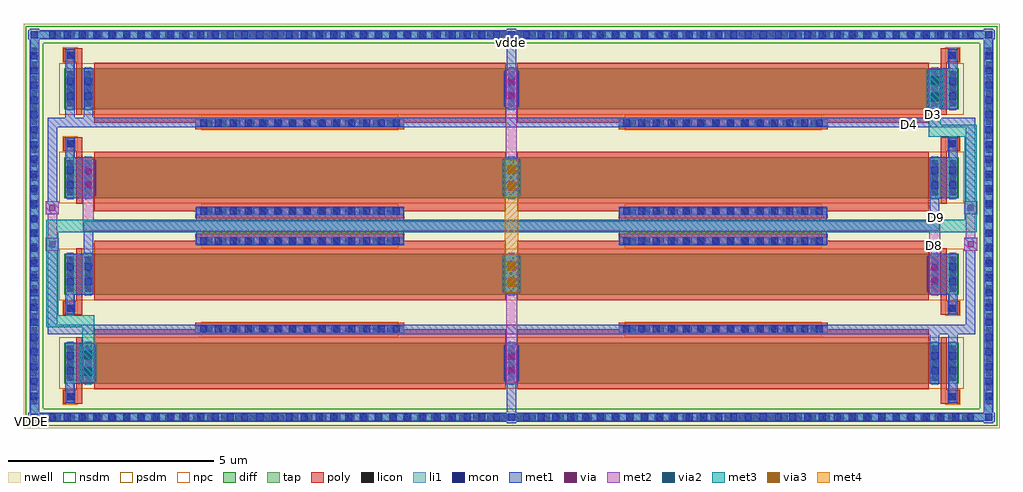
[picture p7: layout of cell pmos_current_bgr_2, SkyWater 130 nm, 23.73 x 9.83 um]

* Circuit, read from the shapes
.subckt pmos_current_bgr_2 D3 D4 D8 D9 VDDE
XM1 D3 D3 D3 VDDE sky130_fd_pr__pfet_01v8 w=1 l=0.15 m=2
XM2 D9 D9 D9 VDDE sky130_fd_pr__pfet_01v8 w=1 l=0.15 m=2
XM3 D8 D8 D8 VDDE sky130_fd_pr__pfet_01v8 w=1 l=0.15 m=2
XM4 D4 D4 D4 VDDE sky130_fd_pr__pfet_01v8 w=1 l=0.15 m=2
XM5 VDDE D4 D3 VDDE sky130_fd_pr__pfet_01v8 w=1 l=10 m=2
XM6 VDDE D9 D9 VDDE sky130_fd_pr__pfet_01v8 w=1 l=10 m=2
XM7 VDDE D9 D8 VDDE sky130_fd_pr__pfet_01v8 w=1 l=10 m=2
XM8 VDDE D4 D4 VDDE sky130_fd_pr__pfet_01v8 w=1 l=10 m=2
.ends

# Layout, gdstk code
import gdstk
lib = gdstk.Library(unit=1e-6, precision=1e-09)
def R(c, l, rs):  # rectangles x0, y0, x1, y1
    for r in rs: c.add(gdstk.rectangle(r[:2], r[2:], *l))
def A(c, l, x, y, w, h, nx, ny, dx, dy):  # array of equal rectangles
    R(c, l, [(x+i*dx, y+j*dy, x+i*dx+w, y+j*dy+h) for i in range(nx) for j in range(ny)])
nwell = (64, 20)
diff = (65, 20)
tap = (65, 44)
poly = (66, 20)
licon = (66, 44)
li1 = (67, 20)
mcon = (67, 44)
met1 = (68, 20)
via = (68, 44)
met2 = (69, 20)
via2 = (69, 44)
met3 = (70, 20)
via3 = (70, 44)
met4 = (71, 20)
nsdm = (93, 44)
psdm = (94, 20)
npc = (95, 20)

sky130_fd_pr__pfet_01v8_ = lib.new_cell('sky130_fd_pr__pfet_01v8_2XUZHN')
R(sky130_fd_pr__pfet_01v8_, nwell, [(-0.545,-0.81,0.545,0.81)])
R(sky130_fd_pr__pfet_01v8_, diff, [(-0.365,-0.5,0.365,0.5)])
R(sky130_fd_pr__pfet_01v8_, poly, [(-0.075,-0.63,0.075,0.63)])
A(sky130_fd_pr__pfet_01v8_, licon, -0.305, -0.425, 0.17, 0.17, 1, 3, 0, 0.34)
A(sky130_fd_pr__pfet_01v8_, licon, 0.135, -0.425, 0.17, 0.17, 1, 3, 0, 0.34)
R(sky130_fd_pr__pfet_01v8_, li1, [(-0.305,-0.52,-0.135,0.52), (0.135,-0.52,0.305,0.52)])
R(sky130_fd_pr__pfet_01v8_, mcon, [(-0.305,-0.265,-0.135,-0.095), (0.135,-0.265,0.305,-0.095), (-0.305,0.095,-0.135,0.265), (0.135,0.095,0.305,0.265)])
R(sky130_fd_pr__pfet_01v8_, met1, [(-0.335,-0.5,-0.105,0.5), (0.105,-0.5,0.335,0.5)])
R(sky130_fd_pr__pfet_01v8_, psdm, [(-0.49,-0.625,0.49,0.625)])

c_sky130_fd_pr__pfet_01v8_ = lib.new_cell('sky130_fd_pr__pfet_01v8_8RMJP2')
R(c_sky130_fd_pr__pfet_01v8_, nwell, [(-10.615,-0.99,10.615,0.82)])
R(c_sky130_fd_pr__pfet_01v8_, diff, [(-10.435,-0.68,10.435,0.32)])
R(c_sky130_fd_pr__pfet_01v8_, poly, [(-10.145,-0.81,-0.145,0.64), (0.145,-0.81,10.145,0.64), (-7.685,0.64,-2.605,0.805), (2.605,0.64,7.685,0.805)])
A(c_sky130_fd_pr__pfet_01v8_, licon, -10.375, -0.605, 0.17, 0.17, 3, 3, 10.29, 0.34)
A(c_sky130_fd_pr__pfet_01v8_, licon, -7.44, 0.555, 0.17, 0.17, 14, 1, 0.34, 0)
A(c_sky130_fd_pr__pfet_01v8_, licon, 2.85, 0.555, 0.17, 0.17, 14, 1, 0.34, 0)
A(c_sky130_fd_pr__pfet_01v8_, li1, -10.375, -0.7, 0.17, 1.04, 3, 1, 10.29, 0)
R(c_sky130_fd_pr__pfet_01v8_, li1, [(-7.685,0.555,-2.605,0.725), (2.605,0.555,7.685,0.725)])
A(c_sky130_fd_pr__pfet_01v8_, mcon, -10.375, -0.445, 0.17, 0.17, 3, 2, 10.29, 0.36)
A(c_sky130_fd_pr__pfet_01v8_, mcon, -7.57, 0.555, 0.17, 0.17, 14, 1, 0.36, 0)
A(c_sky130_fd_pr__pfet_01v8_, mcon, 2.72, 0.555, 0.17, 0.17, 14, 1, 0.36, 0)
A(c_sky130_fd_pr__pfet_01v8_, met1, -10.405, -0.68, 0.23, 1, 3, 1, 10.29, 0)
R(c_sky130_fd_pr__pfet_01v8_, met1, [(-7.665,0.525,-2.625,0.755), (2.625,0.525,7.665,0.755)])
R(c_sky130_fd_pr__pfet_01v8_, psdm, [(-10.56,-0.805,10.56,0.445)])
R(c_sky130_fd_pr__pfet_01v8_, npc, [(-7.54,0.455,-2.75,0.825), (2.75,0.455,7.54,0.825)])

c_sky130_fd_pr__pfet_01v8__ = lib.new_cell('sky130_fd_pr__pfet_01v8_CVRJBD')
R(c_sky130_fd_pr__pfet_01v8__, nwell, [(-10.615,-0.82,10.615,0.99)])
R(c_sky130_fd_pr__pfet_01v8__, diff, [(-10.435,-0.32,10.435,0.68)])
R(c_sky130_fd_pr__pfet_01v8__, poly, [(-7.685,-0.805,-2.605,-0.64), (2.605,-0.805,7.685,-0.64), (-10.145,-0.64,-0.145,0.81), (0.145,-0.64,10.145,0.81)])
A(c_sky130_fd_pr__pfet_01v8__, licon, -7.44, -0.725, 0.17, 0.17, 14, 1, 0.34, 0)
A(c_sky130_fd_pr__pfet_01v8__, licon, 2.85, -0.725, 0.17, 0.17, 14, 1, 0.34, 0)
A(c_sky130_fd_pr__pfet_01v8__, licon, -10.375, -0.245, 0.17, 0.17, 3, 3, 10.29, 0.34)
A(c_sky130_fd_pr__pfet_01v8__, li1, -10.375, -0.34, 0.17, 1.04, 3, 1, 10.29, 0)
R(c_sky130_fd_pr__pfet_01v8__, li1, [(-7.685,-0.725,-2.605,-0.555), (2.605,-0.725,7.685,-0.555)])
A(c_sky130_fd_pr__pfet_01v8__, mcon, -7.57, -0.725, 0.17, 0.17, 14, 1, 0.36, 0)
A(c_sky130_fd_pr__pfet_01v8__, mcon, 2.72, -0.725, 0.17, 0.17, 14, 1, 0.36, 0)
A(c_sky130_fd_pr__pfet_01v8__, mcon, -10.375, -0.085, 0.17, 0.17, 3, 2, 10.29, 0.36)
A(c_sky130_fd_pr__pfet_01v8__, met1, -10.405, -0.32, 0.23, 1, 3, 1, 10.29, 0)
R(c_sky130_fd_pr__pfet_01v8__, met1, [(-7.665,-0.755,-2.625,-0.525), (2.625,-0.755,7.665,-0.525)])
R(c_sky130_fd_pr__pfet_01v8__, psdm, [(-10.56,-0.445,10.56,0.805)])
R(c_sky130_fd_pr__pfet_01v8__, npc, [(-7.54,-0.825,-2.75,-0.455), (2.75,-0.825,7.54,-0.455)])

pmos_current_bgr_2 = lib.new_cell('pmos_current_bgr_2')
R(pmos_current_bgr_2, nwell, [(-1.25,-7.25,22.48,2.58)])
R(pmos_current_bgr_2, tap, [(-1.07,-7.07,22.3,-6.9), (-1.07,-6.9,-0.9,2.23), (22.13,-6.9,22.3,2.23), (-1.07,2.23,22.3,2.4)])
R(pmos_current_bgr_2, poly, [(-0.28,-6.655,0.18,-6.325), (21.05,-6.655,21.51,-6.325), (0.03,-6.325,0.18,-6.17), (21.05,-6.325,21.2,-6.17), (-0.28,-4.495,0.05,-4.49), (21.05,-4.495,21.51,-4.165), (-0.28,-4.49,0.18,-4.165), (0.03,-4.165,0.18,-4.105), (21.05,-4.165,21.2,-4.01), (21.05,-0.66,21.2,-0.505), (0.03,-0.53,0.18,-0.505), (-0.28,-0.505,0.18,-0.175), (21.05,-0.505,21.51,-0.175), (0.03,1.5,0.18,1.655), (21.05,1.63,21.2,1.655), (-0.28,1.655,0.18,1.985), (21.05,1.655,21.51,1.985)])
A(pmos_current_bgr_2, licon, -0.52, -7.07, 0.17, 0.17, 66, 2, 0.34, 9.3)
A(pmos_current_bgr_2, licon, -1.07, -6.67, 0.17, 0.17, 1, 26, 0, 0.34)
A(pmos_current_bgr_2, licon, 22.13, -6.67, 0.17, 0.17, 1, 26, 0, 0.34)
R(pmos_current_bgr_2, licon, [(-0.2,-6.575,-0.03,-6.405), (21.26,-6.575,21.43,-6.405), (-0.2,-4.415,-0.03,-4.245), (21.26,-4.415,21.43,-4.245), (-0.2,-0.425,-0.03,-0.255), (21.26,-0.425,21.43,-0.255), (-0.2,1.735,-0.03,1.905), (21.26,1.735,21.43,1.905)])
R(pmos_current_bgr_2, li1, [(-1.07,-7.07,22.3,-6.9), (-1.07,-6.9,-0.9,2.23), (22.13,-6.9,22.3,2.23), (-0.2,-6.655,-0.03,-6.17), (21.26,-6.655,21.43,-6.17), (-0.2,-4.495,-0.03,-3.96), (21.26,-4.495,21.43,-4.01), (-0.2,-0.685,-0.03,-0.175), (21.26,-0.66,21.43,-0.175), (21.26,1.49,21.43,1.985), (-0.2,1.5,-0.03,1.985), (-1.07,2.23,22.3,2.4)])
A(pmos_current_bgr_2, mcon, -0.63, -7.07, 0.17, 0.17, 63, 2, 0.36, 9.3)
A(pmos_current_bgr_2, mcon, -1.07, -6.56, 0.17, 0.17, 1, 24, 0, 0.36)
A(pmos_current_bgr_2, mcon, 22.13, -6.56, 0.17, 0.17, 1, 24, 0, 0.36)
R(pmos_current_bgr_2, mcon, [(-1.07,-7.07,-0.9,-6.9), (22.13,-7.07,22.3,-6.9), (-0.2,-6.575,-0.03,-6.405), (21.26,-6.575,21.43,-6.405), (-0.2,-4.415,-0.03,-4.245), (21.26,-4.415,21.43,-4.245), (-0.2,-0.425,-0.03,-0.255), (21.26,-0.425,21.43,-0.255), (-0.2,1.735,-0.03,1.905), (21.26,1.735,21.43,1.905), (-1.07,2.23,-0.9,2.4), (22.13,2.23,22.3,2.4)])
A(pmos_current_bgr_2, met1, -1.1, -7.13, 0.23, 0.03, 3, 2, 11.6, 9.56)
R(pmos_current_bgr_2, met1, [(-1.13,-7.1,22.36,-6.87), (-1.1,-6.87,-0.87,2.2), (10.5,-6.87,10.73,-6.11), (22.1,-6.87,22.33,2.2), (-0.23,-6.635,0,-6.17), (21.23,-6.635,21.46,-6.17), (-0.095,-6.17,0.295,-6.11), (-0.095,-6.11,0.505,-5.23), (10.435,-6.11,10.795,-5.23), (21.23,-5.235,21.46,-4.965), (-0.095,-5.23,0.295,-5.17), (20.79,-5.205,21.02,-4.965), (-0.665,-4.965,3.7,-4.735), (7.875,-4.965,13.355,-4.735), (18.12,-4.965,21.895,-4.735), (-0.665,-4.735,-0.435,-2.94), (21.665,-4.735,21.895,-2.94), (-0.23,-4.475,0,-4.01), (21.23,-4.475,21.46,-4.01), (-0.23,-4.01,0.31,-3.955), (20.9,-4.01,21.395,-3.95), (-0.22,-3.955,0.31,-3.055), (10.435,-3.95,10.795,-3.07), (20.725,-3.95,21.395,-3.07), (20.9,-3.07,21.395,-3.01), (-0.22,-3.055,0.44,-3.01), (0.21,-3.01,0.44,-2.45), (-0.71,-2.94,-0.39,-2.62), (21.62,-2.94,21.94,-2.62), (13.24,-2.595,18.28,-2.45), (2.95,-2.59,7.99,-2.45), (0.21,-2.45,21.02,-2.22), (2.95,-2.22,7.99,-2.055), (13.24,-2.22,18.28,-2.06), (20.79,-2.22,21.02,-1.66), (-0.71,-2.05,-0.39,-1.73), (21.62,-2.05,21.94,-1.73), (-0.665,-1.73,-0.435,0.065), (21.665,-1.73,21.895,0.065), (-0.105,-1.66,0.305,-1.6), (20.79,-1.66,21.37,-1.61), (20.875,-1.61,21.37,-0.66), (-0.105,-1.6,0.505,-0.725), (10.435,-1.6,10.795,-0.72), (-0.23,-0.725,0.505,-0.72), (-0.23,-0.72,0.305,-0.66), (-0.23,-0.66,0,-0.195), (21.23,-0.66,21.46,-0.195), (-0.665,0.065,21.895,0.295), (-0.23,0.295,0,0.58), (0.21,0.295,0.44,0.54), (20.97,0.5,21.36,0.56), (10.435,0.56,10.795,1.44), (20.725,0.56,21.36,1.44), (10.5,1.44,10.73,2.2), (20.97,1.44,21.36,1.475), (20.97,1.475,21.46,1.5), (-0.23,1.5,0,1.965), (21.23,1.5,21.46,1.965), (-1.13,2.2,22.36,2.43)])
R(pmos_current_bgr_2, via, [(0.25,-5.905,0.4,-5.755), (10.54,-5.905,10.69,-5.755), (0.25,-5.585,0.4,-5.435), (10.54,-5.585,10.69,-5.435), (10.54,-3.745,10.69,-3.595), (20.83,-3.745,20.98,-3.595), (10.54,-3.425,10.69,-3.275), (20.83,-3.425,20.98,-3.275), (-0.625,-2.855,-0.475,-2.705), (21.705,-2.855,21.855,-2.705), (-0.625,-1.965,-0.475,-1.815), (21.705,-1.965,21.855,-1.815), (0.25,-1.395,0.4,-1.245), (10.54,-1.395,10.69,-1.245), (0.25,-1.075,0.4,-0.925), (10.54,-1.075,10.69,-0.925), (10.54,0.765,10.69,0.915), (20.83,0.765,20.98,0.915), (10.54,1.085,10.69,1.235), (20.83,1.085,20.98,1.235)])
R(pmos_current_bgr_2, met2, [(0.185,-6.16,0.465,-5.18), (10.485,-6.16,10.745,-5.32), (10.485,-5.32,10.755,-4), (10.475,-4,10.755,-3.02), (20.775,-4,21.035,-2.465), (-0.71,-2.94,-0.39,-2.62), (21.62,-2.94,21.94,-2.62), (-0.665,-2.62,-0.435,-2.05), (21.665,-2.62,21.895,-2.05), (0.195,-2.465,21.035,-2.205), (0.195,-2.205,0.455,-0.67), (-0.71,-2.05,-0.39,-1.73), (21.62,-2.05,21.94,-1.73), (10.475,-1.65,10.755,-0.67), (10.475,-0.67,10.745,0.76), (20.765,0.51,21.045,1.49), (10.485,0.76,10.745,1.49)])
R(pmos_current_bgr_2, via2, [(0.225,-5.97,0.425,-5.77), (0.225,-5.57,0.425,-5.37), (10.515,-3.81,10.715,-3.61), (10.515,-3.41,10.715,-3.21), (10.515,-1.46,10.715,-1.26), (10.515,-1.06,10.715,-0.86), (20.805,0.7,21.005,0.9), (20.805,1.1,21.005,1.3)])
R(pmos_current_bgr_2, met3, [(0.135,-6.135,0.515,-5.205), (0.175,-5.205,0.475,-4.8), (-0.7,-4.8,0.475,-4.5), (-0.7,-4.5,-0.4,-2.485), (10.425,-3.975,10.805,-3.95), (10.405,-3.95,10.825,-3.07), (10.425,-3.07,10.805,-3.045), (-0.7,-2.485,21.93,-2.185), (21.63,-2.185,21.93,-0.17), (10.425,-1.625,10.805,-1.6), (10.405,-1.6,10.825,-0.72), (10.425,-0.72,10.805,-0.695), (20.755,-0.17,21.93,0.13), (20.755,0.13,21.055,0.535), (20.715,0.535,21.095,1.465)])
R(pmos_current_bgr_2, via3, [(10.515,-3.81,10.715,-3.61), (10.515,-3.41,10.715,-3.21), (10.515,-1.46,10.715,-1.26), (10.515,-1.06,10.715,-0.86)])
R(pmos_current_bgr_2, met4, [(10.45,-3.955,10.78,-3.065), (10.455,-3.065,10.775,-1.605), (10.45,-1.605,10.78,-0.715)])
R(pmos_current_bgr_2, nsdm, [(-1.195,-7.195,22.425,-6.775), (-1.195,-6.775,-0.775,2.105), (22.005,-6.775,22.425,2.105), (-1.195,2.105,22.425,2.525)])
R(pmos_current_bgr_2, npc, [(-0.3,-6.675,0.07,-6.305), (21.16,-6.675,21.53,-6.305), (-0.3,-4.515,0.07,-4.145), (21.16,-4.515,21.53,-4.145), (-0.3,-0.525,0.07,-0.155), (21.16,-0.525,21.53,-0.155), (-0.3,1.635,0.07,2.005), (21.16,1.635,21.53,2.005)])
pmos_current_bgr_2.add(gdstk.Reference(sky130_fd_pr__pfet_01v8_, (21.125,-5.67)))
pmos_current_bgr_2.add(gdstk.Reference(sky130_fd_pr__pfet_01v8_, (0.105,-5.67)))
pmos_current_bgr_2.add(gdstk.Reference(c_sky130_fd_pr__pfet_01v8_, (10.615,-5.49)))
pmos_current_bgr_2.add(gdstk.Reference(sky130_fd_pr__pfet_01v8_, (0.105,-3.51)))
pmos_current_bgr_2.add(gdstk.Reference(sky130_fd_pr__pfet_01v8_, (21.125,-3.51)))
pmos_current_bgr_2.add(gdstk.Reference(c_sky130_fd_pr__pfet_01v8_, (10.615,-3.33)))
pmos_current_bgr_2.add(gdstk.Reference(sky130_fd_pr__pfet_01v8_, (21.125,-1.16)))
pmos_current_bgr_2.add(gdstk.Reference(sky130_fd_pr__pfet_01v8_, (0.105,-1.16)))
pmos_current_bgr_2.add(gdstk.Reference(c_sky130_fd_pr__pfet_01v8__, (10.615,-1.34)))
pmos_current_bgr_2.add(gdstk.Reference(sky130_fd_pr__pfet_01v8_, (21.125,1)))
pmos_current_bgr_2.add(gdstk.Reference(sky130_fd_pr__pfet_01v8_, (0.105,1)))
pmos_current_bgr_2.add(gdstk.Reference(c_sky130_fd_pr__pfet_01v8__, (10.615,0.82)))
pmos_current_bgr_2.add(gdstk.Label('vdde', (10.595,2.115), layer=68, texttype=5))
pmos_current_bgr_2.add(gdstk.Label('D3', (20.88,0.365), layer=70, texttype=5))
pmos_current_bgr_2.add(gdstk.Label('D4', (20.29,0.125), layer=68, texttype=5))
pmos_current_bgr_2.add(gdstk.Label('D9', (20.95,-2.125), layer=68, texttype=5))
pmos_current_bgr_2.add(gdstk.Label('D8', (20.91,-2.8), layer=69, texttype=5))
pmos_current_bgr_2.add(gdstk.Label('VDDE', (-1.045,-7.09), layer=68, texttype=5))

lib.write_gds('pmos_current_bgr_2.gds')
